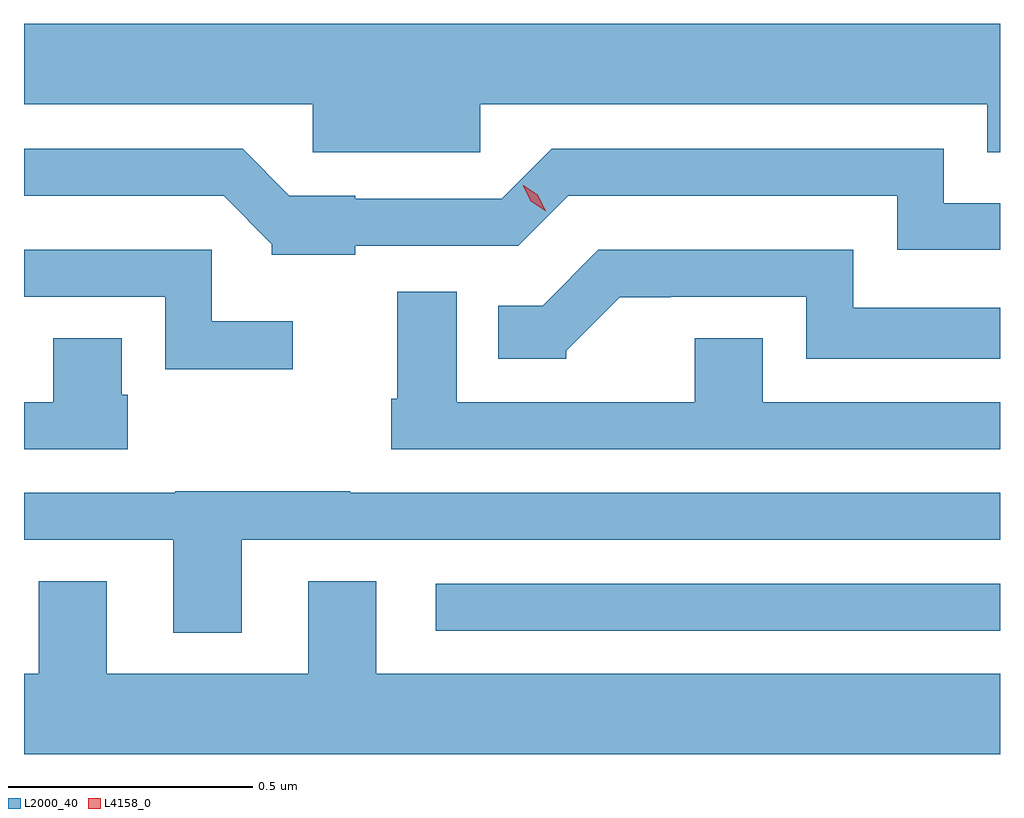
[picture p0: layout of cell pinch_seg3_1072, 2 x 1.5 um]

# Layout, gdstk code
import gdstk
lib = gdstk.Library(unit=1e-6, precision=1e-09)
def R(c, l, rs):  # rectangles x0, y0, x1, y1
    for r in rs: c.add(gdstk.rectangle(r[:2], r[2:], *l))
def P(c, l, *ps):  # polygons
    for p in ps: c.add(gdstk.Polygon(p, *l))
L2000_40 = (2000, 40)
L4158_0 = (4158, 0)

pinch_seg3_1072 = lib.new_cell('pinch_seg3_1072')
R(pinch_seg3_1072, L2000_40, [(365.907,738.465,367.063,738.561)])
P(pinch_seg3_1072, L2000_40, [(365.998,739.544),(367.037,739.544),(367.037,739.445),(367.063,739.445),(367.063,739.708),(365.063,739.708),(365.063,739.544),(365.655,739.544),(365.655,739.445),(365.998,739.445)],
  [(365.742,739.254),(366.076,739.254),(366.178,739.356),(366.852,739.356),(366.852,739.245),(367.063,739.245),(367.063,739.341),(366.948,739.341),(366.948,739.452),(366.144,739.452),(366.042,739.35),(365.742,739.35),(365.742,739.356),(365.607,739.356),(365.511,739.452),(365.063,739.452),(365.063,739.356),(365.472,739.356),(365.571,739.257),(365.571,739.235),(365.742,739.235)],
  [(365.614,739.099),(365.448,739.099),(365.448,739.245),(365.063,739.245),(365.063,739.149),(365.352,739.149),(365.352,739),(365.614,739)],
  [(366.174,739.038),(366.284,739.148),(366.388,739.148),(366.388,739.149),(366.666,739.149),(366.666,739.022),(367.063,739.022),(367.063,739.126),(366.762,739.126),(366.762,739.245),(366.24,739.245),(366.126,739.131),(366.035,739.131),(366.035,739.022),(366.174,739.022)],
  [(367.063,738.933),(366.577,738.933),(366.577,739.064),(366.437,739.064),(366.437,738.933),(365.95,738.933),(365.95,739.159),(365.828,739.159),(365.828,738.94),(365.816,738.94),(365.816,738.837),(367.063,738.837)],
  [(365.276,738.948),(365.263,738.948),(365.263,739.064),(365.123,739.064),(365.123,738.933),(365.063,738.933),(365.063,738.837),(365.276,738.837)],
  [(365.509,738.651),(367.063,738.651),(367.063,738.747),(365.732,738.747),(365.732,738.75),(365.373,738.75),(365.373,738.747),(365.063,738.747),(365.063,738.651),(365.369,738.651),(365.369,738.461),(365.509,738.461)],
  [(367.063,738.376),(365.785,738.376),(365.785,738.566),(365.645,738.566),(365.645,738.376),(365.233,738.376),(365.233,738.566),(365.093,738.566),(365.093,738.376),(365.063,738.376),(365.063,738.212),(367.063,738.212)])
P(pinch_seg3_1072, L4158_0, [(366.132,739.324),(366.101,739.345),(366.085,739.378),(366.085,739.378),(366.086,739.378),(366.116,739.358),(366.132,739.324),(366.132,739.324)])

lib.write_gds('pinch_seg3_1072.gds')
